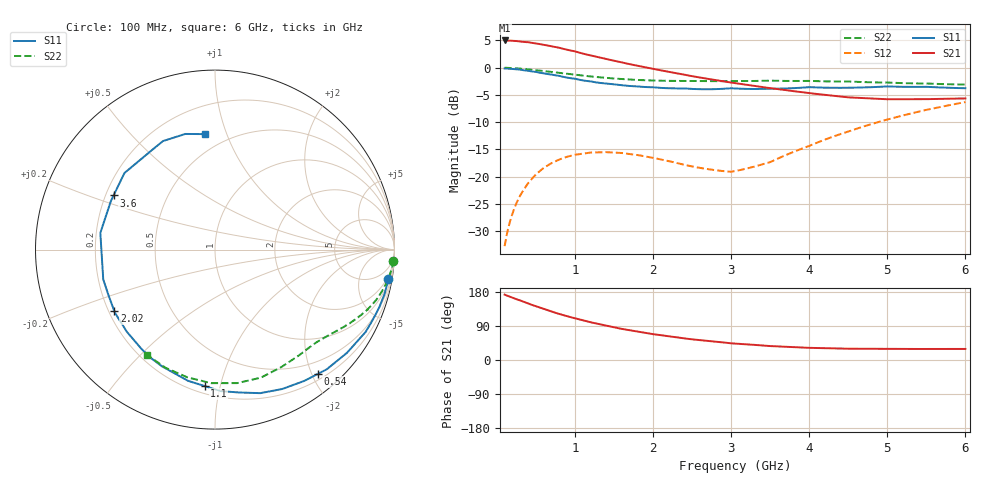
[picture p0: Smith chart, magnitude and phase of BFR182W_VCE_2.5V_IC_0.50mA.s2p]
! Infineon Technologies  Discrete & RF Semiconductors
! BFR182W
! VCE =  2.5 V,  IC = 0.50 mA
! Common Emitter S-Parameters:  Nov 2015
# GHz  S  MA  R  50
!  f  S11  S21  S12  S22
! GHz  MAG  ANG  MAG  ANG  MAG  ANG  MAG  ANG
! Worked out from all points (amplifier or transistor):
!   192 points, 100 MHz to 6 GHz, reference 50 ohm
!   highest |S21| = 5.0 dB at 100 MHz (marker M1)
!   |S21| within 3 dB of that: start of sweep to 1.273 GHz
!   unconditionally stable (mu >= 1): 2.415 GHz to 3.52 GHz
!   at 440 MHz: K = 0.17, MSG = 12.5 dB, |S12| = -20.5 dB
!   at 1.7 GHz: K = 0.68, MSG = 8.2 dB, |S12| = -15.8 dB
!   at 6 GHz: K = 0.91, MSG = 0.3 dB, |S12| = -6.3 dB
!   S11 on the Smith chart (normalised r, x): 100 MHz: 1, -12; 540 MHz: 0.29, -2.09; 1.1 GHz: 0.25, -0.90; 2.02 GHz: 0.22, -0.27; 3.6 GHz: 0.23, +0.24; 6 GHz: 0.38, +0.84
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0.1  0.9803 -9.7  1.769 172.4  0.0231 83.3  0.9953 -3.5
0.165  0.9741 -16.0  1.761 167.2  0.038 79.9  0.9912 -5.8
0.26  0.9608 -24.9  1.745 159.8  0.059 74.5  0.9817 -9.0
0.4  0.9336 -38.0  1.706 149.0  0.0869 66.8  0.9621 -13.4
0.54  0.8987 -50.5  1.643 139.0  0.1109 59.0  0.9393 -17.6
0.7  0.8621 -64.3  1.567 127.7  0.133 51.5  0.911 -21.7
0.8  0.8386 -72.5  1.516 121.4  0.1436 47.3  0.892 -24.1
1  0.7894 -87.6  1.406 110.0  0.1587 39.6  0.8579 -28.4
1.1  0.7622 -94.4  1.342 105.0  0.1623 36.2  0.8427 -30.2
1.36  0.7177 -111.8  1.213 92.3  0.1674 28.7  0.8082 -34.7
1.58  0.691 -125.1  1.122 82.9  0.1651 24.3  0.7859 -38.2
1.8  0.6714 -137.0  1.038 74.9  0.158 21.4  0.769 -41.5
2.02  0.6574 -148.5  0.966 67.7  0.1478 20.2  0.7593 -44.9
2.08  0.6522 -151.1  0.948 66.0  0.1449 20.4  0.7576 -45.8
2.5  0.6364 -169.5  0.833 54.4  0.124 24.6  0.7521 -52.1
3  0.6456 171.7  0.728 44.0  0.1109 42.9  0.7517 -60.8
3.1  0.6401 168.4  0.711 42.7  0.1144 47.9  0.7513 -62.7
3.6  0.6405 151.9  0.634 35.9  0.1466 67.0  0.7551 -72.3
4.1  0.6563 137.2  0.572 31.7  0.2049 73.8  0.7499 -82.7
5.1  0.6674 113.4  0.512 29.3  0.3486 69.4  0.7233 -104.3
5.5  0.6653 104.4  0.513 29.1  0.4093 65.3  0.7137 -112.7
6  0.6459 95.1  0.521 29.2  0.4826 58.6  0.6983 -122.6
